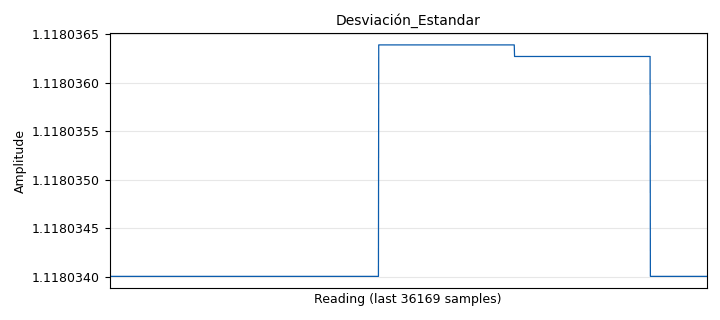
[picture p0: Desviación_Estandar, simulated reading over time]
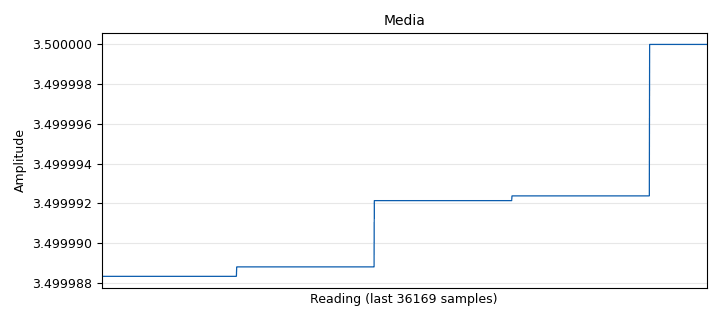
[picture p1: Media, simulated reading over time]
options:
  parameters:
    generate_options: qt_gui
    id: Promedios_de_tiempo
    output_language: python
    title: Not titled yet
  states: {}

blocks:
- name: samp_rate
  id: variable
  parameters:
    value: '32000'
  states: {}
- name: Desviación_Estandar
  id: qtgui_number_sink
  parameters:
    graph_type: qtgui.NUM_GRAPH_HORIZ
    name: '"Desviación_Estandar"'
    type: float
  states: {}
- name: Media
  id: qtgui_number_sink
  parameters:
    graph_type: qtgui.NUM_GRAPH_HORIZ
    name: '"Media"'
    type: float
  states: {}
- name: Media_Cuadratica
  id: qtgui_number_sink
  parameters:
    graph_type: qtgui.NUM_GRAPH_HORIZ
    name: '"Media_Cuadratica"'
    type: float
  states: {}
- name: Potencia_Promedio
  id: qtgui_number_sink
  parameters:
    graph_type: qtgui.NUM_GRAPH_HORIZ
    name: '"Potencia_Promedio"'
    type: float
  states: {}
- name: RMS
  id: qtgui_number_sink
  parameters:
    graph_type: qtgui.NUM_GRAPH_HORIZ
    name: '"RMS"'
    type: float
  states: {}
- name: analog_sig_source_x_0
  id: analog_sig_source_x
  parameters:
    amp: '2'
    freq: '1000'
    offset: '0'
    phase: '0'
    samp_rate: samp_rate
    type: float
    waveform: analog.GR_TRI_WAVE
  states: {state: disabled}
- name: blocks_vector_source_x_0
  id: blocks_vector_source_x
  parameters:
    repeat: 'True'
    type: float
    vector: (1, 2, -1)
  states: {state: disabled}
- name: blocks_vector_source_x_0_0
  id: blocks_vector_source_x
  parameters:
    repeat: 'True'
    type: float
    vector: (2,3,4,5)
  states: {}
- name: epy_block_0
  id: epy_block
  parameters:
    _source_code: |
      import numpy as np
      from gnuradio import gr

      class blk(gr.sync_block):

          def __init__(self):  
              gr.sync_block.__init__(
                  self,
                  name='Promedios_de_tiempos',
                  in_sig=[np.float32],
                  out_sig=[np.float32, np.float32, np.float32, np.float32, np.float32]
              )
              # Acumuladores globales
              self.acum_sum = 0
              self.acum_sum2 = 0
              self.acum_var = 0
              self.Ntotales = 0

          def work(self, input_items, output_items):
              x = input_items[0]    
              y0, y1, y2, y3, y4 = output_items  

              N = len(x)
              self.Ntotales += N

              # -------------------
              # Media aritmética
              # -------------------
              self.acum_sum += np.sum(x)
              promedio = self.acum_sum / self.Ntotales
              y0[:] = promedio

              # -------------------
              # Media cuadrática (E[x²])
              # -------------------
              self.acum_sum2 += np.sum(x**2)
              media_cuadratica = self.acum_sum2 / self.Ntotales
              y1[:] = media_cuadratica

              # -------------------
              # RMS
              # -------------------
              rms = np.sqrt(media_cuadratica)
              y2[:] = rms

              # -------------------
              # Potencia promedio (en dB)
              # -------------------
              potencia_db = 10 * np.log10(media_cuadratica + 1e-12)  # evitar log(0)
              y3[:] = potencia_db

              # -------------------
              # Desviación estándar
              # -------------------
              self.acum_var += np.sum((x - promedio) ** 2)
              desviacion = np.sqrt(self.acum_var / self.Ntotales)
              y4[:] = desviacion

              return len(x)
  states: {}

connections:
- [analog_sig_source_x_0, '0', epy_block_0, '0']
- [blocks_vector_source_x_0, '0', epy_block_0, '0']
- [blocks_vector_source_x_0_0, '0', epy_block_0, '0']
- [epy_block_0, '0', Media, '0']
- [epy_block_0, '1', Media_Cuadratica, '0']
- [epy_block_0, '2', RMS, '0']
- [epy_block_0, '3', Potencia_Promedio, '0']
- [epy_block_0, '4', Desviación_Estandar, '0']

metadata:
  file_format: 1
  grc_version: v3.10.11.0-89-ga17f69e7
